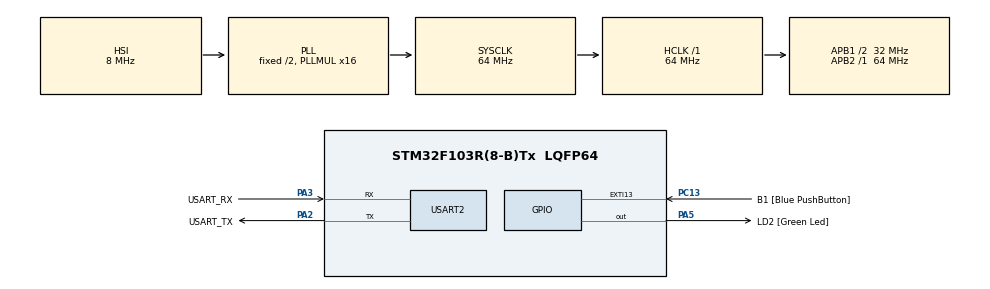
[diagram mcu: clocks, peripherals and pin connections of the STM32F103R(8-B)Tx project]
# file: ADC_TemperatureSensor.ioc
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Mcu.Family=STM32F1
PA2.GPIO_PuPd=GPIO_NOPULL
ADC1.Rank-0\#ChannelRegularConversion=1
VP_ADC1_TempSens_Input.Mode=IN-TempSens
ADC1.ContinuousConvMode=ENABLE
PA14.GPIO_Label=TCK
PA3.GPIO_PuPd=GPIO_NOPULL
PA2.GPIO_Speed=GPIO_SPEED_FREQ_LOW
PC13-TAMPER-RTC.Signal=GPXTI13
PD0-OSC_IN.Signal=RCC_OSC_IN
RCC.APB1CLKDivider=RCC_HCLK_DIV2
PC14-OSC32_IN.Signal=RCC_OSC32_IN
PA3.GPIO_Speed=GPIO_SPEED_FREQ_LOW
RCC.SYSCLKSource=RCC_SYSCLKSOURCE_PLLCLK
ProjectManager.StackSize=0x400
PD1-OSC_OUT.Signal=RCC_OSC_OUT
RCC.ADCPresc=RCC_ADCPCLK2_DIV8
PA13.Signal=SYS_JTMS-SWDIO
PA3.Mode=Asynchronous
ProjectManager.TargetToolchain=STM32CubeIDE
PA3.GPIO_Mode=GPIO_MODE_AF_PP
RCC.HCLKFreq_Value=64000000
RCC.APB2TimFreq_Value=64000000
RCC.USBFreq_Value=64000000
PC15-OSC32_OUT.Signal=RCC_OSC32_OUT
RCC.AHBFreq_Value=64000000
NVIC.EXTI15_10_IRQn=true\:0\:0\:false\:false\:true\:true\:true
PA5.Signal=GPIO_Output
ADC1.Channel-0\#ChannelRegularConversion=ADC_CHANNEL_TEMPSENSOR
board=NUCLEO-F103RB
RCC.RTCClockSelection=RCC_RTCCLKSOURCE_LSE
PC13-TAMPER-RTC.GPIO_Label=B1 [Blue PushButton]
RCC.PLLMUL=RCC_PLL_MUL16
RCC.APB2Freq_Value=64000000
PA5.GPIO_ModeDefaultOutputPP=GPIO_MODE_OUTPUT_PP
PA14.Mode=Serial_Wire
PA5.GPIO_PuPd=GPIO_NOPULL
ADC1.NbrOfConversion=1
PA13.Mode=Serial_Wire
Mcu.Name=STM32F103R(8-B)Tx
ADC1.SamplingTime-0\#ChannelRegularConversion=ADC_SAMPLETIME_13CYCLES_5
PA2.Signal=USART2_TX
PA13.GPIO_Label=TMS
PB3.Signal=SYS_JTDO-TRACESWO
RCC.SYSCLKFreq_VALUE=64000000
Mcu.Package=LQFP64
ADC1.master=1
PA5.GPIO_Label=LD2 [Green Led]
USART2.VirtualMode=VM_ASYNC
PC13-TAMPER-RTC.GPIO_PuPd=GPIO_NOPULL
PA2.GPIO_Label=USART_TX
PA14.Signal=SYS_JTCK-SWCLK
ProjectManager.HeapSize=0x200
PA5.GPIO_Speed=GPIO_SPEED_FREQ_LOW
NVIC.PriorityGroup=NVIC_PRIORITYGROUP_4
ADC1.NbrOfConversionFlag=1
RCC.APB1TimFreq_Value=64000000
PA2.Mode=Asynchronous
RCC.APB1Freq_Value=32000000
PA3.GPIO_Label=USART_RX
PA3.Signal=USART2_RX
PA2.GPIO_Mode=GPIO_MODE_AF_PP
PB3.GPIO_Label=SWO

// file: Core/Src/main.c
/* USER CODE BEGIN Header */
/**
  ******************************************************************************
  * @file           : main.c
  * @brief          : Main program body
  ******************************************************************************
  * @attention
  *
  * <h2><center>&copy; Copyright (c) 2021 STMicroelectronics.
  * All rights reserved.</center></h2>
  *
  * This software component is licensed by ST under BSD 3-Clause license,
  * the "License"; You may not use this file except in compliance with the
  * License. You may obtain a copy of the License at:
  *                        opensource.org/licenses/BSD-3-Clause
  *
  ******************************************************************************
  */
/* USER CODE END Header */
#include "main.h"

ADC_HandleTypeDef hadc1;

UART_HandleTypeDef huart2;

/* USER CODE BEGIN PV */
const float AVG_SLOPE = 4.3E-03;
const float V25 = 1.43;
const float ADC_TO_VOLT = 3.3 / 4096;
/* USER CODE END PV */

void SystemClock_Config(void);
static void MX_GPIO_Init(void);
static void MX_USART2_UART_Init(void);
static void MX_ADC1_Init(void);

/* USER CODE BEGIN 0 */
#ifdef __GNUC__
#define PUTCHAR_PROTOTYPE int __io_putchar(int ch)
#else
#define PUTCHAR_PROTOTYPE int fputc(int ch, FILE *f)
#endif
/* USER CODE END 0 */

PUTCHAR_PROTOTYPE
{
	if(ch == '\n')
		HAL_UART_Transmit(&huart2, (uint8_t*) "\r", 1, 0xFFFF);
		HAL_UART_Transmit(&huart2, (uint8_t*) &ch, 1, 0xFFFF);

	return ch;
}
int main(void)
{

  /* MCU Configuration--------------------------------------------------------*/

  /* Reset of all peripherals, Initializes the Flash interface and the Systick. */
  HAL_Init();

  /* Configure the system clock */
  SystemClock_Config();

  /* Initialize all configured peripherals */
  MX_GPIO_Init();
  MX_USART2_UART_Init();
  MX_ADC1_Init();

  /* Infinite loop */
  /* USER CODE BEGIN WHILE */
  if(HAL_ADCEx_Calibration_Start(&hadc1) != HAL_OK)
  {
	  Error_Handler();
  }

  if(HAL_ADC_Start(&hadc1) != HAL_OK)
  {
	  Error_Handler();
  }

  uint16_t adc1;

  float vSense;
  float temp;

  while (1)
  {
    /* USER CODE END WHILE */
	  HAL_ADC_PollForConversion(&hadc1, 100);
	  adc1 = HAL_ADC_GetValue(&hadc1);
	//  printf("ADC1_temperature: %d \n", adc1);
	  vSense = adc1 * ADC_TO_VOLT;
	  temp = (V25 - vSense) / AVG_SLOPE + 25.0;
	  printf("temperature : %d, %f \n", adc1, temp);
	  HAL_GPIO_TogglePin(LD2_GPIO_Port, LD2_Pin);
	  HAL_Delay(1000);
  }
}

void SystemClock_Config(void)
{
  RCC_OscInitTypeDef RCC_OscInitStruct = {0};
  RCC_ClkInitTypeDef RCC_ClkInitStruct = {0};
  RCC_PeriphCLKInitTypeDef PeriphClkInit = {0};

  /** Initializes the RCC Oscillators according to the specified parameters
  * in the RCC_OscInitTypeDef structure.
  */
  RCC_OscInitStruct.OscillatorType = RCC_OSCILLATORTYPE_HSI;
  RCC_OscInitStruct.HSIState = RCC_HSI_ON;
  RCC_OscInitStruct.HSICalibrationValue = RCC_HSICALIBRATION_DEFAULT;
  RCC_OscInitStruct.PLL.PLLState = RCC_PLL_ON;
  RCC_OscInitStruct.PLL.PLLSource = RCC_PLLSOURCE_HSI_DIV2;
  RCC_OscInitStruct.PLL.PLLMUL = RCC_PLL_MUL16;
  if (HAL_RCC_OscConfig(&RCC_OscInitStruct) != HAL_OK)
  {
    Error_Handler();
  }
  /** Initializes the CPU, AHB and APB buses clocks
  */
  RCC_ClkInitStruct.ClockType = RCC_CLOCKTYPE_HCLK|RCC_CLOCKTYPE_SYSCLK
                              |RCC_CLOCKTYPE_PCLK1|RCC_CLOCKTYPE_PCLK2;
  RCC_ClkInitStruct.SYSCLKSource = RCC_SYSCLKSOURCE_PLLCLK;
  RCC_ClkInitStruct.AHBCLKDivider = RCC_SYSCLK_DIV1;
  RCC_ClkInitStruct.APB1CLKDivider = RCC_HCLK_DIV2;
  RCC_ClkInitStruct.APB2CLKDivider = RCC_HCLK_DIV1;

  if (HAL_RCC_ClockConfig(&RCC_ClkInitStruct, FLASH_LATENCY_2) != HAL_OK)
  {
    Error_Handler();
  }
  PeriphClkInit.PeriphClockSelection = RCC_PERIPHCLK_ADC;
  PeriphClkInit.AdcClockSelection = RCC_ADCPCLK2_DIV8;
  if (HAL_RCCEx_PeriphCLKConfig(&PeriphClkInit) != HAL_OK)
  {
    Error_Handler();
  }
}

static void MX_ADC1_Init(void)
{

  ADC_ChannelConfTypeDef sConfig = {0};

  /** Common config
  */
  hadc1.Instance = ADC1;
  hadc1.Init.ScanConvMode = ADC_SCAN_DISABLE;
  hadc1.Init.ContinuousConvMode = ENABLE;
  hadc1.Init.DiscontinuousConvMode = DISABLE;
  hadc1.Init.ExternalTrigConv = ADC_SOFTWARE_START;
  hadc1.Init.DataAlign = ADC_DATAALIGN_RIGHT;
  hadc1.Init.NbrOfConversion = 1;
  if (HAL_ADC_Init(&hadc1) != HAL_OK)
  {
    Error_Handler();
  }
  /** Configure Regular Channel
  */
  sConfig.Channel = ADC_CHANNEL_TEMPSENSOR;
  sConfig.Rank = ADC_REGULAR_RANK_1;
  sConfig.SamplingTime = ADC_SAMPLETIME_13CYCLES_5;
  if (HAL_ADC_ConfigChannel(&hadc1, &sConfig) != HAL_OK)
  {
    Error_Handler();
  }

}

static void MX_USART2_UART_Init(void)
{

  huart2.Instance = USART2;
  huart2.Init.BaudRate = 115200;
  huart2.Init.WordLength = UART_WORDLENGTH_8B;
  huart2.Init.StopBits = UART_STOPBITS_1;
  huart2.Init.Parity = UART_PARITY_NONE;
  huart2.Init.Mode = UART_MODE_TX_RX;
  huart2.Init.HwFlowCtl = UART_HWCONTROL_NONE;
  huart2.Init.OverSampling = UART_OVERSAMPLING_16;
  if (HAL_UART_Init(&huart2) != HAL_OK)
  {
    Error_Handler();
  }

}

static void MX_GPIO_Init(void)
{
  GPIO_InitTypeDef GPIO_InitStruct = {0};

  /* GPIO Ports Clock Enable */
  __HAL_RCC_GPIOC_CLK_ENABLE();
  __HAL_RCC_GPIOD_CLK_ENABLE();
  __HAL_RCC_GPIOA_CLK_ENABLE();
  __HAL_RCC_GPIOB_CLK_ENABLE();

  /*Configure GPIO pin Output Level */
  HAL_GPIO_WritePin(LD2_GPIO_Port, LD2_Pin, GPIO_PIN_RESET);

  /*Configure GPIO pin : B1_Pin */
  GPIO_InitStruct.Pin = B1_Pin;
  GPIO_InitStruct.Mode = GPIO_MODE_IT_RISING;
  GPIO_InitStruct.Pull = GPIO_NOPULL;
  HAL_GPIO_Init(B1_GPIO_Port, &GPIO_InitStruct);

  /*Configure GPIO pin : LD2_Pin */
  GPIO_InitStruct.Pin = LD2_Pin;
  GPIO_InitStruct.Mode = GPIO_MODE_OUTPUT_PP;
  GPIO_InitStruct.Pull = GPIO_NOPULL;
  GPIO_InitStruct.Speed = GPIO_SPEED_FREQ_LOW;
  HAL_GPIO_Init(LD2_GPIO_Port, &GPIO_InitStruct);

  /* EXTI interrupt init*/
  HAL_NVIC_SetPriority(EXTI15_10_IRQn, 0, 0);
  HAL_NVIC_EnableIRQ(EXTI15_10_IRQn);

}

void Error_Handler(void)
{
  __disable_irq();
  while (1)
  {
  }
}

/************************ (C) COPYRIGHT STMicroelectronics *****END OF FILE****/
